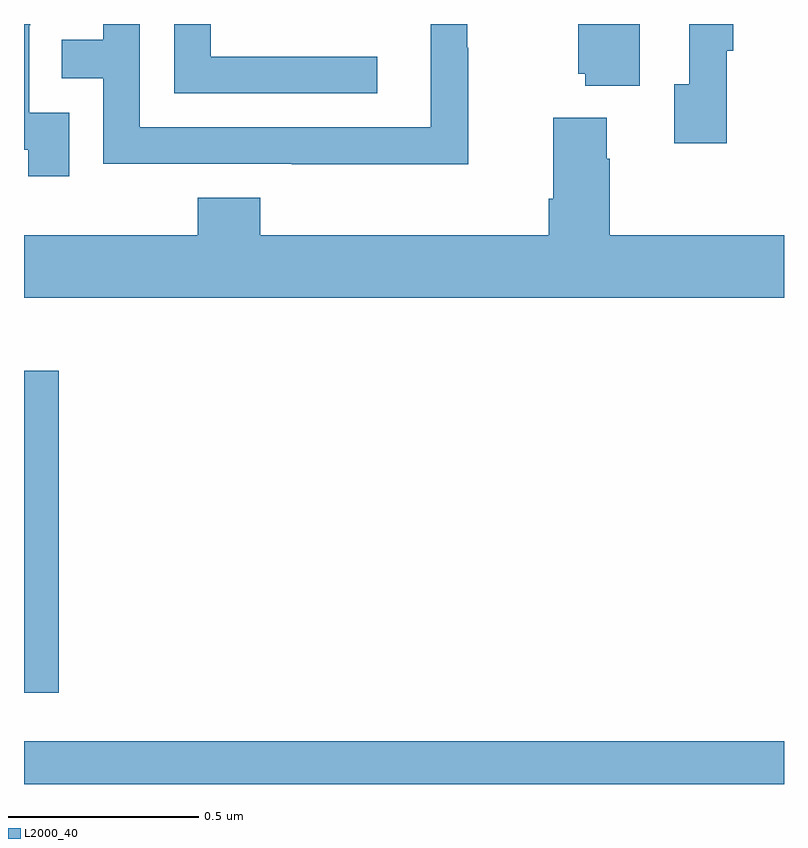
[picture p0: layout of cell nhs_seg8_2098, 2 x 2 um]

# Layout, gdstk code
import gdstk
lib = gdstk.Library(unit=1e-6, precision=1e-09)
def R(c, l, rs):  # rectangles x0, y0, x1, y1
    for r in rs: c.add(gdstk.rectangle(r[:2], r[2:], *l))
def P(c, l, *ps):  # polygons
    for p in ps: c.add(gdstk.Polygon(p, *l))
L2000_40 = (2000, 40)

nhs_seg8_2098 = lib.new_cell('nhs_seg8_2098')
R(nhs_seg8_2098, L2000_40, [(139,1101.9,141,1102.012), (139,1102.14,139.091,1102.987)])
P(nhs_seg8_2098, L2000_40, [(140.169,1103.837),(140.166,1103.837),(140.166,1103.9),(140.07,1103.9),(140.07,1103.628),(139.305,1103.628),(139.305,1103.9),(139.209,1103.9),(139.209,1103.858),(139.099,1103.858),(139.099,1103.757),(139.209,1103.757),(139.209,1103.532),(139.705,1103.532),(139.705,1103.531),(140.169,1103.531)],
  [(140.849,1103.83),(140.867,1103.83),(140.867,1103.9),(140.751,1103.9),(140.751,1103.742),(140.711,1103.742),(140.711,1103.586),(140.849,1103.586)],
  [(139.93,1103.814),(139.491,1103.814),(139.491,1103.9),(139.395,1103.9),(139.395,1103.718),(139.93,1103.718)],
  [(139.119,1103.667),(139.014,1103.667),(139.014,1103.897),(139.016,1103.897),(139.016,1103.9),(139,1103.9),(139,1103.569),(139.011,1103.569),(139.011,1103.499),(139.119,1103.499)],
  [(140.62,1103.9),(140.459,1103.9),(140.459,1103.769),(140.477,1103.769),(140.477,1103.738),(140.62,1103.738)],
  [(141,1103.344),(140.541,1103.344),(140.541,1103.546),(140.533,1103.546),(140.533,1103.653),(140.393,1103.653),(140.393,1103.44),(140.381,1103.44),(140.381,1103.344),(139.622,1103.344),(139.622,1103.443),(139.457,1103.443),(139.457,1103.344),(139,1103.344),(139,1103.18),(141,1103.18)])

lib.write_gds('nhs_seg8_2098.gds')
